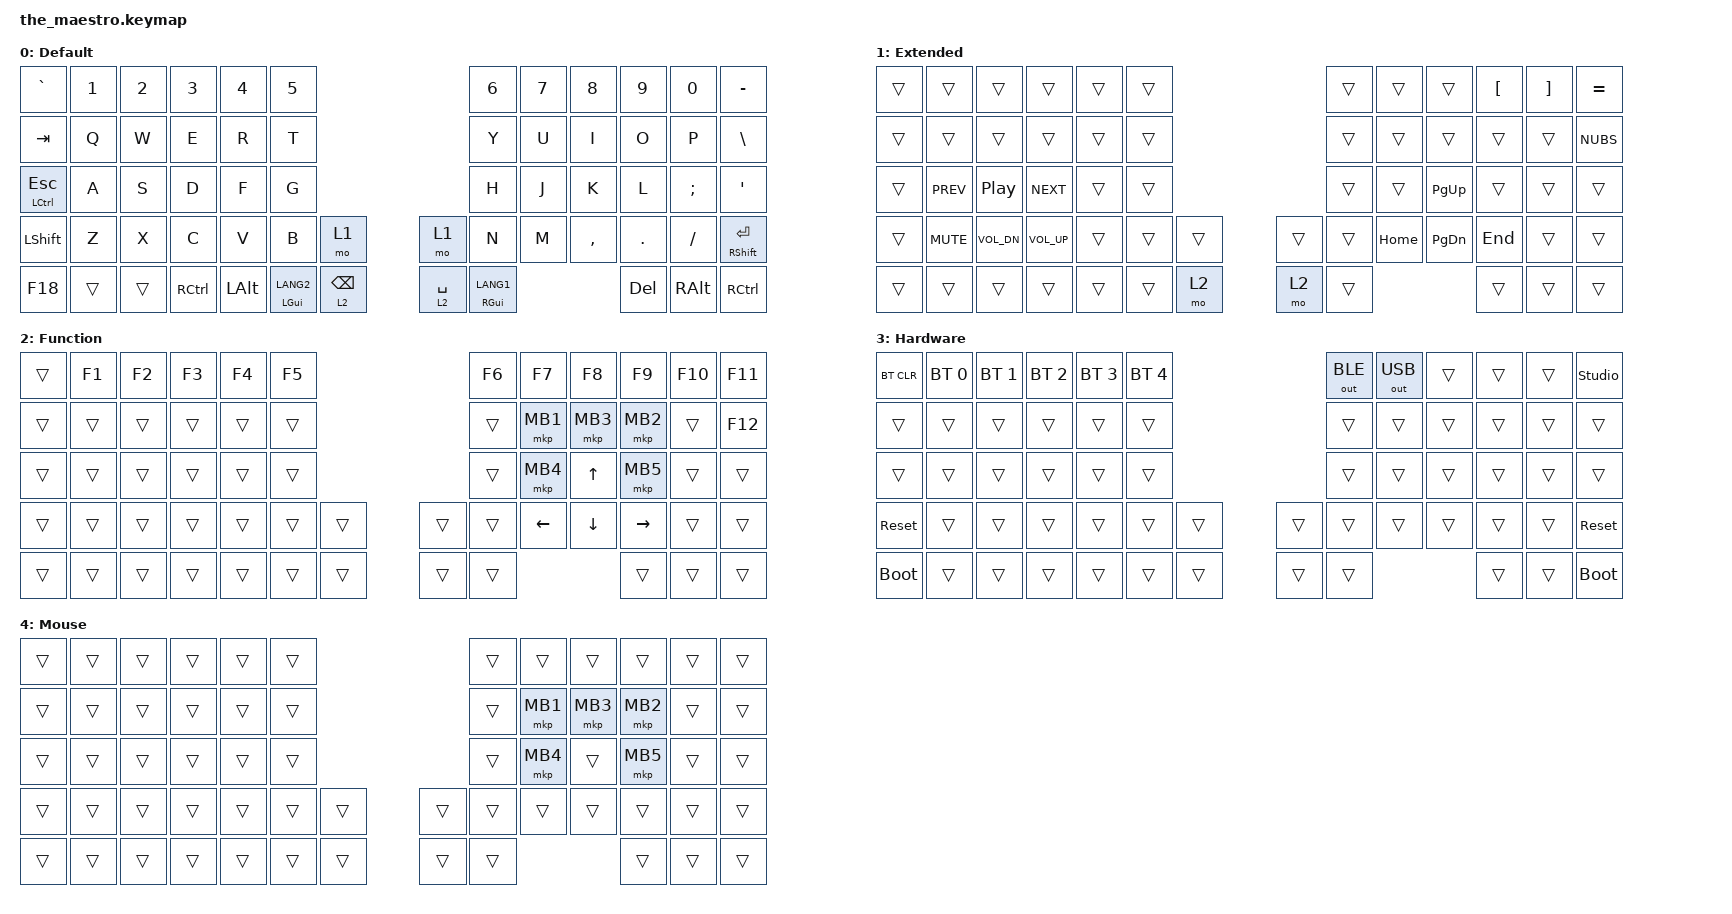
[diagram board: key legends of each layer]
#include <behaviors.dtsi>
#include <dt-bindings/zmk/bt.h>
#include <dt-bindings/zmk/keys.h>
#include <dt-bindings/zmk/mouse.h>
#include <dt-bindings/zmk/input_transform.h>
#include <dt-bindings/zmk/outputs.h>
#include <input/processors.dtsi>

&lt {
    tapping-term-ms = <240>;
    flavor = "balanced";
    quick-tap-ms = <150>;
};

&mt {
    tapping-term-ms = <200>;
    flavor = "hold-preferred";
    quick-tap-ms = <150>;
};

/ {
  trackball_listener {
    input-processors = <
      &zip_xy_transform INPUT_TRANSFORM_XY_SWAP
      &zip_xy_transform INPUT_TRANSFORM_Y_INVERT
      &zip_temp_layer 4 250
    >;

    fast_scroll_mode: fast_scroll_mode {
      layers = <3>;
      input-processors = <
        &zip_xy_transform INPUT_TRANSFORM_XY_SWAP
        &zip_xy_scaler 1 8
        &zip_xy_to_scroll_mapper
      >;
    };

    scroll_mode: scroll_mode {
      layers = <2>;
      input-processors = <
        &zip_xy_transform INPUT_TRANSFORM_XY_SWAP
        &zip_xy_scaler 1 25
        &zip_xy_to_scroll_mapper
      >;
    };

    snipe_mode: snipe_mode {
      layers = <1>;
      input-processors = <
        &zip_xy_transform INPUT_TRANSFORM_XY_SWAP
        &zip_xy_transform INPUT_TRANSFORM_Y_INVERT
        &zip_xy_scaler 1 4
      >;
    };
  };

  conditional_layers {
    compatible = "zmk,conditional-layers";
    tri_layer {
      if-layers = <1 2>;
      then-layer = <3>;
    };
  };

  keymap {
    compatible = "zmk,keymap";

    default_layer {
      display-name = "Default";
      bindings = <
        &kp GRAVE       &kp N1       &kp N2       &kp N3       &kp N4       &kp N5                                      &kp N6         &kp N7       &kp N8       &kp N9       &kp N0       &kp MINUS
        &kp TAB         &kp Q        &kp W        &kp E        &kp R        &kp T                                       &kp Y          &kp U        &kp I        &kp O        &kp P        &kp BSLH
        &mt LCTRL ESC   &kp A        &kp S        &kp D        &kp F        &kp G                                       &kp H          &kp J        &kp K        &kp L        &kp SEMI     &kp APOS
        &kp LSHFT       &kp Z        &kp X        &kp C        &kp V        &kp B          &mo 1           &mo 1        &kp N          &kp M        &kp COMMA    &kp DOT      &kp FSLH     &mt RSHFT RET
        &kp F18         &trans       &trans       &kp RCTRL    &kp LALT     &mt LGUI LANG2 &lt 2 BSPC      &lt 2 SPACE  &mt RGUI LANG1                           &kp DEL      &kp RALT     &kp RCTRL
      >;
    };

    extended_layer {
      display-name = "Extended";
      bindings = <
        &trans          &trans       &trans       &trans       &trans       &trans                                      &trans         &trans       &trans       &kp LBKT     &kp RBKT     &kp EQUAL
        &trans          &trans       &trans       &trans       &trans       &trans                                      &trans         &trans       &trans       &trans       &trans       &kp NUBS
        &trans          &kp C_PREV   &kp C_PP     &kp C_NEXT   &trans       &trans                                      &trans         &trans       &kp PG_UP    &trans       &trans       &trans
        &trans          &kp C_MUTE   &kp C_VOL_DN &kp C_VOL_UP &trans       &trans         &trans          &trans       &trans         &kp HOME     &kp PG_DN    &kp END      &trans       &trans
        &trans          &trans       &trans       &trans       &trans       &trans         &mo 2           &mo 2        &trans                                   &trans       &trans       &trans
      >;
    };

    function_layer {
      display-name = "Function";
      bindings = <
        &trans          &kp F1       &kp F2       &kp F3       &kp F4       &kp F5                                      &kp F6         &kp F7       &kp F8       &kp F9       &kp F10      &kp F11
        &trans          &trans       &trans       &trans       &trans       &trans                                      &trans         &mkp MB1     &mkp MB3     &mkp MB2     &trans       &kp F12
        &trans          &trans       &trans       &trans       &trans       &trans                                      &trans         &mkp MB4     &kp UP       &mkp MB5     &trans       &trans
        &trans          &trans       &trans       &trans       &trans       &trans         &trans          &trans       &trans         &kp LEFT     &kp DOWN     &kp RIGHT    &trans       &trans
        &trans          &trans       &trans       &trans       &trans       &trans         &trans          &trans       &trans                                   &trans       &trans       &trans
      >;
    };

    hardware_layer {
      display-name = "Hardware";
      bindings = <
        &bt BT_CLR      &bt BT_SEL 0 &bt BT_SEL 1 &bt BT_SEL 2 &bt BT_SEL 3 &bt BT_SEL 4                                &out OUT_BLE   &out OUT_USB &trans       &trans       &trans       &studio_unlock
        &trans          &trans       &trans       &trans       &trans       &trans                                      &trans         &trans       &trans       &trans       &trans       &trans
        &trans          &trans       &trans       &trans       &trans       &trans                                      &trans         &trans       &trans       &trans       &trans       &trans
        &sys_reset      &trans       &trans       &trans       &trans       &trans         &trans          &trans       &trans         &trans       &trans       &trans       &trans       &sys_reset
        &bootloader     &trans       &trans       &trans       &trans       &trans         &trans          &trans       &trans                                   &trans       &trans       &bootloader
      >;
    };

    mouse_layer {
      display-name = "Mouse";
      bindings = <
        &trans          &trans       &trans       &trans       &trans       &trans                                      &trans         &trans       &trans       &trans       &trans       &trans
        &trans          &trans       &trans       &trans       &trans       &trans                                      &trans         &mkp MB1     &mkp MB3     &mkp MB2     &trans       &trans
        &trans          &trans       &trans       &trans       &trans       &trans                                      &trans         &mkp MB4     &trans       &mkp MB5     &trans       &trans
        &trans          &trans       &trans       &trans       &trans       &trans         &trans          &trans       &trans         &trans       &trans       &trans       &trans       &trans
        &trans          &trans       &trans       &trans       &trans       &trans         &trans          &trans       &trans                                   &trans       &trans       &trans
      >;
    };
  };

  combos {
    compatible = "zmk,combos";
    combo_lbkt {
      timeout-ms = <50>;
      key-positions = <9 21>;
      bindings = <&kp LBKT>;
    };
    combo_rbkt {
      timeout-ms = <50>;
      key-positions = <10 22>;
      bindings = <&kp RBKT>;
    };
    combo_equal {
      timeout-ms = <50>;
      key-positions = <11 23>;
      bindings = <&kp EQUAL>;
    };
  };
};
